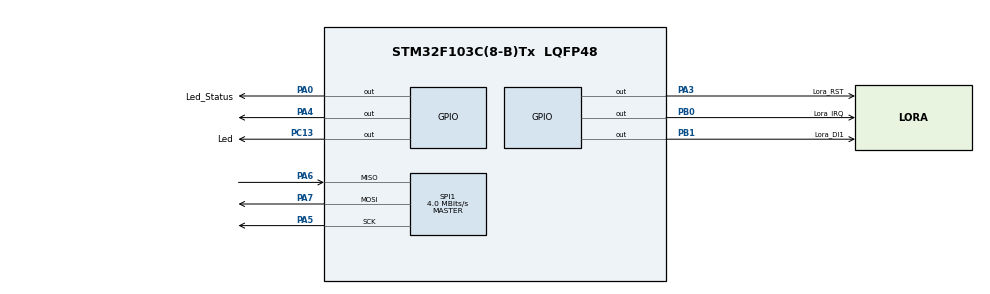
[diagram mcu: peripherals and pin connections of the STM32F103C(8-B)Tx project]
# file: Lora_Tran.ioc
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Mcu.Family=STM32F1
Mcu.Name=STM32F103C(8-B)Tx
Mcu.Package=LQFP48
NVIC.PriorityGroup=NVIC_PRIORITYGROUP_4
PA0-WKUP.GPIO_Label=Led_Status
PA0-WKUP.Signal=GPIO_Output
PA13.Mode=Serial_Wire
PA13.Signal=SYS_JTMS-SWDIO
PA14.Mode=Serial_Wire
PA14.Signal=SYS_JTCK-SWCLK
PA3.GPIO_Label=Lora_RST
PA3.Signal=GPIO_Output
PA4.Signal=GPIO_Output
PA5.Mode=Full_Duplex_Master
PA5.Signal=SPI1_SCK
PA6.Mode=Full_Duplex_Master
PA6.Signal=SPI1_MISO
PA7.Mode=Full_Duplex_Master
PA7.Signal=SPI1_MOSI
PB0.GPIO_Label=Lora_IRQ
PB0.Signal=GPIO_Output
PB1.GPIO_Label=Lora_DI1
PB1.Signal=GPIO_Output
PC13-TAMPER-RTC.GPIO_Label=Led
PC13-TAMPER-RTC.Signal=GPIO_Output
ProjectManager.HeapSize=0x200
ProjectManager.StackSize=0x400
ProjectManager.TargetToolchain=STM32CubeIDE
RCC.APB1Freq_Value=8000000
RCC.APB2Freq_Value=8000000
SPI1.CalculateBaudRate=4.0 MBits/s
SPI1.Direction=SPI_DIRECTION_2LINES
SPI1.Mode=SPI_MODE_MASTER
SPI1.VirtualType=VM_MASTER
board=custom

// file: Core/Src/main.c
/* USER CODE BEGIN Header */
/**
  ******************************************************************************
  * @file           : main.c
  * @brief          : Main program body
  ******************************************************************************
  * @attention
  *
  * Copyright (c) 2024 STMicroelectronics.
  * All rights reserved.
  *
  * This software is licensed under terms that can be found in the LICENSE file
  * in the root directory of this software component.
  * If no LICENSE file comes with this software, it is provided AS-IS.
  *
  ******************************************************************************
  */
/* USER CODE END Header */
#include "main.h"

/* USER CODE BEGIN Includes */
#include "string.h"
#include "stdio.h"
#include "LoRa.h"
/* USER CODE END Includes */

/* USER CODE BEGIN PD */
#define MAX_DATA 128
/* USER CODE END PD */

SPI_HandleTypeDef hspi1;

/* USER CODE BEGIN PV */
LoRa LoRa_Tran;

uint8_t send_data[MAX_DATA];
uint16_t data_length = 0, data_ok = 0;
int			RSSI;

uint32_t stick_1s = 0;

uint8_t flag = 0,len=0;
char buf[100] = "Slave1";
/* USER CODE END PV */

void SystemClock_Config(void);
static void MX_GPIO_Init(void);
static void MX_SPI1_Init(void);

/* USER CODE BEGIN 0 */
void reset_lora_ble(void)
{
	//khoi tao lora
	LoRa_Tran = newLoRa();

	LoRa_Tran.hSPIx                 = &hspi1;
	LoRa_Tran.CS_port               = Lora_IRQ_GPIO_Port;
	LoRa_Tran.CS_pin                = Lora_IRQ_Pin;
	LoRa_Tran.reset_port            = Lora_RST_GPIO_Port;
	LoRa_Tran.reset_pin             = Lora_RST_Pin;
	LoRa_Tran.DIO0_port						 = Lora_DI1_GPIO_Port;
	LoRa_Tran.DIO0_pin							 = Lora_DI1_Pin;

	LoRa_Tran.frequency             = 433;							 	 // default = 433 MHz
	LoRa_Tran.spredingFactor        = SF_7;								// default = SF_7
	LoRa_Tran.bandWidth			       = BW_125KHz;				  		// default = BW_125KHz
	LoRa_Tran.crcRate				       = CR_4_5;					// default = CR_4_5
	LoRa_Tran.power					       = POWER_20db;				// default = 20db
	LoRa_Tran.overCurrentProtection = 120; 								// default = 100 mA
	LoRa_Tran.preamble				       = 10;		  				// default = 8;

	LoRa_reset(&LoRa_Tran);
	if(LoRa_init(&LoRa_Tran) == LORA_OK)
	{
		HAL_GPIO_WritePin(Led_Status_GPIO_Port,Led_Status_Pin , GPIO_PIN_SET);
		HAL_GPIO_WritePin(Led_GPIO_Port, Led_Pin, GPIO_PIN_RESET);
	}
	else
	{
		while(1)
		{
			  HAL_GPIO_TogglePin(Led_Status_GPIO_Port,Led_Status_Pin);
			  HAL_GPIO_TogglePin(Led_GPIO_Port, Led_Pin);
			  HAL_Delay(1000);
		}
	}
	LoRa_startReceiving(&LoRa_Tran);
	HAL_Delay(1000);
}

uint8_t addCRC(uint8_t *data, uint16_t length)
{

	uint16_t len = length;
	uint16_t i=0;
	uint8_t checksum = 0;
	for(i=0;i<len;i++)
	{
		checksum+=(~(data[i])+1);
	}
	return checksum;

}

uint8_t check_crc(uint8_t *data, uint16_t length)
{
	uint16_t crc_temp,crcok = 0;
	crcok += (data[length-3] - '0')*100;
	crcok += (data[length-2] - '0')*10;
	crcok += (data[length-1] - '0');

	crc_temp = addCRC(data,length-3);

	if(crcok == crc_temp)
	{
		return 1;
	}
	else
	{
		return 0;
	}
}

/* USER CODE END 0 */

int main(void)
{

  /* MCU Configuration--------------------------------------------------------*/

  /* Reset of all peripherals, Initializes the Flash interface and the Systick. */
  HAL_Init();

  /* Configure the system clock */
  SystemClock_Config();

  /* Initialize all configured peripherals */
  MX_GPIO_Init();
  MX_SPI1_Init();
  /* USER CODE BEGIN 2 */
  reset_lora_ble();
  /* USER CODE END 2 */

  /* Infinite loop */
  while (1)
  {

    /* USER CODE BEGIN 3 */
	  	  if(HAL_GetTick() - stick_1s >=100)
			{
				send_data[0] = 'D';
				send_data[1] = 'U';
				send_data[2] = 'Y';
				send_data[3] = '2';
				send_data[3] = check_crc(send_data, 4);
				LoRa_transmit(&LoRa_Tran, send_data, 4, 500);
				stick_1s = HAL_GetTick();
			}
  }

  /* USER CODE END 3 */
}

void SystemClock_Config(void)
{
  RCC_OscInitTypeDef RCC_OscInitStruct = {0};
  RCC_ClkInitTypeDef RCC_ClkInitStruct = {0};

  /** Initializes the RCC Oscillators according to the specified parameters
  * in the RCC_OscInitTypeDef structure.
  */
  RCC_OscInitStruct.OscillatorType = RCC_OSCILLATORTYPE_HSI;
  RCC_OscInitStruct.HSIState = RCC_HSI_ON;
  RCC_OscInitStruct.HSICalibrationValue = RCC_HSICALIBRATION_DEFAULT;
  RCC_OscInitStruct.PLL.PLLState = RCC_PLL_NONE;
  if (HAL_RCC_OscConfig(&RCC_OscInitStruct) != HAL_OK)
  {
    Error_Handler();
  }

  /** Initializes the CPU, AHB and APB buses clocks
  */
  RCC_ClkInitStruct.ClockType = RCC_CLOCKTYPE_HCLK|RCC_CLOCKTYPE_SYSCLK
                              |RCC_CLOCKTYPE_PCLK1|RCC_CLOCKTYPE_PCLK2;
  RCC_ClkInitStruct.SYSCLKSource = RCC_SYSCLKSOURCE_HSI;
  RCC_ClkInitStruct.AHBCLKDivider = RCC_SYSCLK_DIV1;
  RCC_ClkInitStruct.APB1CLKDivider = RCC_HCLK_DIV1;
  RCC_ClkInitStruct.APB2CLKDivider = RCC_HCLK_DIV1;

  if (HAL_RCC_ClockConfig(&RCC_ClkInitStruct, FLASH_LATENCY_0) != HAL_OK)
  {
    Error_Handler();
  }
}

static void MX_SPI1_Init(void)
{

  /* SPI1 parameter configuration*/
  hspi1.Instance = SPI1;
  hspi1.Init.Mode = SPI_MODE_MASTER;
  hspi1.Init.Direction = SPI_DIRECTION_2LINES;
  hspi1.Init.DataSize = SPI_DATASIZE_8BIT;
  hspi1.Init.CLKPolarity = SPI_POLARITY_LOW;
  hspi1.Init.CLKPhase = SPI_PHASE_1EDGE;
  hspi1.Init.NSS = SPI_NSS_SOFT;
  hspi1.Init.BaudRatePrescaler = SPI_BAUDRATEPRESCALER_2;
  hspi1.Init.FirstBit = SPI_FIRSTBIT_MSB;
  hspi1.Init.TIMode = SPI_TIMODE_DISABLE;
  hspi1.Init.CRCCalculation = SPI_CRCCALCULATION_DISABLE;
  hspi1.Init.CRCPolynomial = 10;
  if (HAL_SPI_Init(&hspi1) != HAL_OK)
  {
    Error_Handler();
  }

}

static void MX_GPIO_Init(void)
{
  GPIO_InitTypeDef GPIO_InitStruct = {0};

  /* GPIO Ports Clock Enable */
  __HAL_RCC_GPIOC_CLK_ENABLE();
  __HAL_RCC_GPIOA_CLK_ENABLE();
  __HAL_RCC_GPIOB_CLK_ENABLE();

  /*Configure GPIO pin Output Level */
  HAL_GPIO_WritePin(Led_GPIO_Port, Led_Pin, GPIO_PIN_RESET);

  /*Configure GPIO pin Output Level */
  HAL_GPIO_WritePin(GPIOA, Led_Status_Pin|Lora_RST_Pin|GPIO_PIN_4, GPIO_PIN_RESET);

  /*Configure GPIO pin Output Level */
  HAL_GPIO_WritePin(GPIOB, Lora_IRQ_Pin|Lora_DI1_Pin, GPIO_PIN_RESET);

  /*Configure GPIO pin : Led_Pin */
  GPIO_InitStruct.Pin = Led_Pin;
  GPIO_InitStruct.Mode = GPIO_MODE_OUTPUT_PP;
  GPIO_InitStruct.Pull = GPIO_NOPULL;
  GPIO_InitStruct.Speed = GPIO_SPEED_FREQ_LOW;
  HAL_GPIO_Init(Led_GPIO_Port, &GPIO_InitStruct);

  /*Configure GPIO pins : Led_Status_Pin Lora_RST_Pin PA4 */
  GPIO_InitStruct.Pin = Led_Status_Pin|Lora_RST_Pin|GPIO_PIN_4;
  GPIO_InitStruct.Mode = GPIO_MODE_OUTPUT_PP;
  GPIO_InitStruct.Pull = GPIO_NOPULL;
  GPIO_InitStruct.Speed = GPIO_SPEED_FREQ_LOW;
  HAL_GPIO_Init(GPIOA, &GPIO_InitStruct);

  /*Configure GPIO pins : Lora_IRQ_Pin Lora_DI1_Pin */
  GPIO_InitStruct.Pin = Lora_IRQ_Pin|Lora_DI1_Pin;
  GPIO_InitStruct.Mode = GPIO_MODE_OUTPUT_PP;
  GPIO_InitStruct.Pull = GPIO_NOPULL;
  GPIO_InitStruct.Speed = GPIO_SPEED_FREQ_LOW;
  HAL_GPIO_Init(GPIOB, &GPIO_InitStruct);

}

void Error_Handler(void)
{
  __disable_irq();
  while (1)
  {
  }
}
